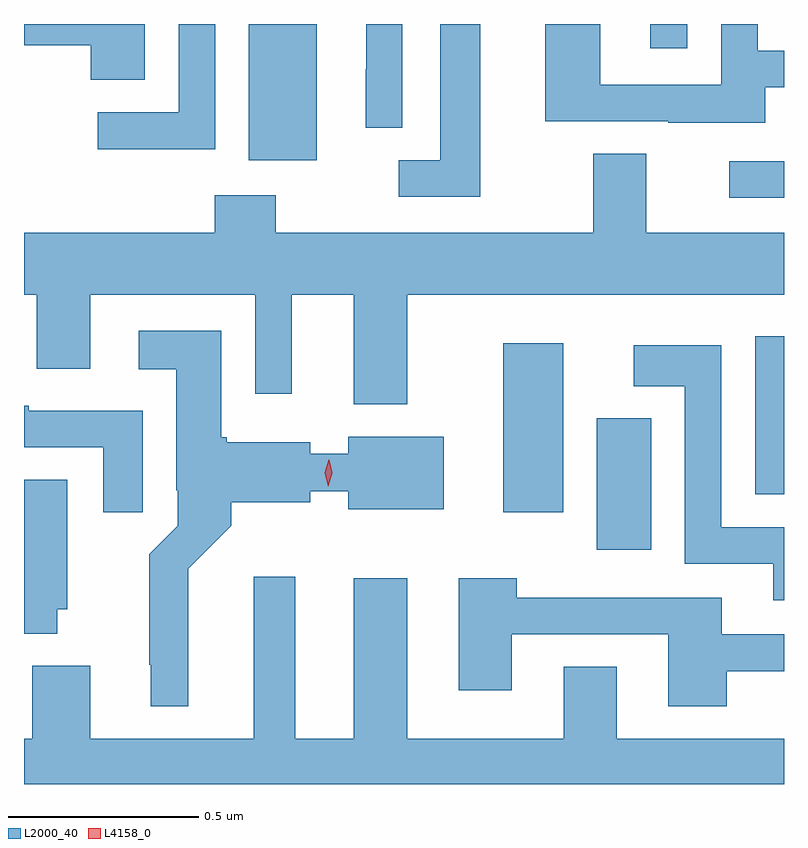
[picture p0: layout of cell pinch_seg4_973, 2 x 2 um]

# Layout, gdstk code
import gdstk
lib = gdstk.Library(unit=1e-6, precision=1e-09)
def R(c, l, rs):  # rectangles x0, y0, x1, y1
    for r in rs: c.add(gdstk.rectangle(r[:2], r[2:], *l))
def P(c, l, *ps):  # polygons
    for p in ps: c.add(gdstk.Polygon(p, *l))
L2000_40 = (2000, 40)
L4158_0 = (4158, 0)

pinch_seg4_973 = lib.new_cell('pinch_seg4_973')
R(pinch_seg4_973, L2000_40, [(713.024,784.161,713.167,784.507), (712.778,784.26,712.936,784.705), (713.441,784.307,713.517,784.723), (713.373,785.088,713.517,785.184), (712.109,785.186,712.288,785.545), (713.165,785.481,713.262,785.545)])
P(pinch_seg4_973, L2000_40, [(712.512,785.545),(712.418,785.545),(712.418,785.426),(712.416,785.426),(712.416,785.272),(712.512,785.272)],
  [(712.02,785.545),(711.924,785.545),(711.924,785.313),(711.711,785.313),(711.711,785.215),(712.02,785.215)],
  [(711.835,785.545),(711.517,785.545),(711.517,785.489),(711.692,785.489),(711.692,785.398),(711.835,785.398)],
  [(713.467,785.379),(713.517,785.379),(713.517,785.475),(713.448,785.475),(713.448,785.545),(713.352,785.545),(713.352,785.385),(713.034,785.385),(713.034,785.545),(712.889,785.545),(712.889,785.289),(713.213,785.289),(713.213,785.285),(713.467,785.285)],
  [(712.717,785.545),(712.613,785.545),(712.613,785.187),(712.503,785.187),(712.503,785.091),(712.717,785.091)],
  [(712.525,784.832),(713.517,784.832),(713.517,784.996),(713.155,784.996),(713.155,785.204),(713.015,785.204),(713.015,784.996),(712.179,784.996),(712.179,785.095),(712.019,785.095),(712.019,784.996),(711.517,784.996),(711.517,784.832),(711.551,784.832),(711.551,784.638),(711.691,784.638),(711.691,784.832),(712.125,784.832),(712.125,784.572),(712.222,784.572),(712.222,784.832),(712.385,784.832),(712.385,784.544),(712.525,784.544)],
  [(711.949,784.112),(712.062,784.225),(712.062,784.286),(712.27,784.286),(712.27,784.315),(712.37,784.315),(712.37,784.268),(712.621,784.268),(712.621,784.459),(712.37,784.459),(712.37,784.414),(712.27,784.414),(712.27,784.444),(712.05,784.444),(712.05,784.458),(712.036,784.458),(712.036,784.738),(711.819,784.738),(711.819,784.637),(711.917,784.637),(711.917,784.318),(711.921,784.318),(711.921,784.224),(711.847,784.15),(711.847,783.859),(711.851,783.859),(711.851,783.749),(711.949,783.749)],
  [(713.517,784.221),(713.352,784.221),(713.352,784.699),(713.121,784.699),(713.121,784.592),(713.256,784.592),(713.256,784.125),(713.489,784.125),(713.489,784.028),(713.517,784.028)],
  [(711.829,784.527),(711.529,784.527),(711.529,784.54),(711.517,784.54),(711.517,784.431),(711.725,784.431),(711.725,784.26),(711.829,784.26)],
  [(711.604,784.005),(711.631,784.005),(711.631,784.346),(711.517,784.346),(711.517,783.941),(711.604,783.941)],
  [(713.517,783.664),(713.077,783.664),(713.077,783.854),(712.937,783.854),(712.937,783.664),(712.525,783.664),(712.525,784.087),(712.385,784.087),(712.385,783.664),(712.231,783.664),(712.231,784.09),(712.121,784.09),(712.121,783.664),(711.691,783.664),(711.691,783.856),(711.539,783.856),(711.539,783.664),(711.517,783.664),(711.517,783.545),(713.517,783.545)],
  [(713.366,783.842),(713.517,783.842),(713.517,783.939),(713.353,783.939),(713.353,784.035),(712.814,784.035),(712.814,784.087),(712.661,784.087),(712.661,783.792),(712.801,783.792),(712.801,783.939),(713.213,783.939),(713.213,783.75),(713.366,783.75)])
P(pinch_seg4_973, L4158_0, [(712.317,784.329),(712.317,784.329),(712.308,784.364),(712.319,784.398),(712.319,784.398),(712.32,784.398),(712.328,784.364),(712.317,784.329)])

lib.write_gds('pinch_seg4_973.gds')
